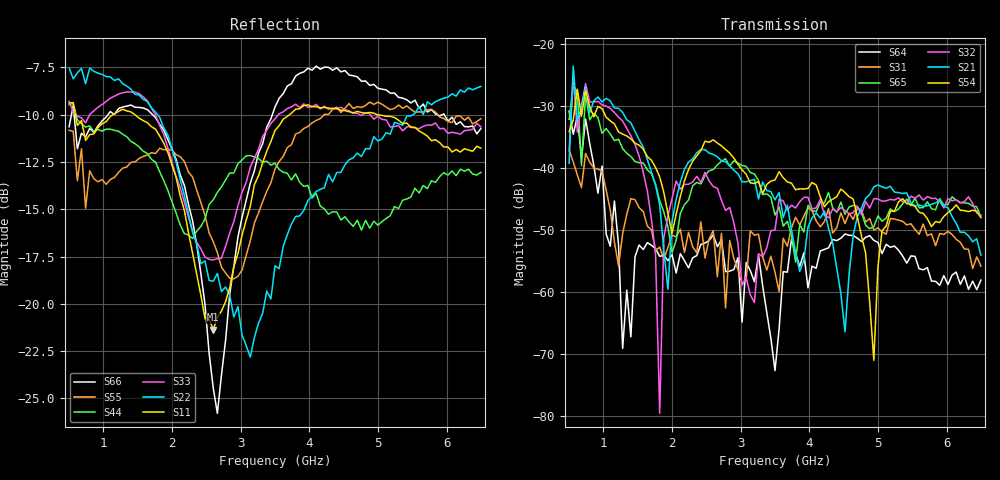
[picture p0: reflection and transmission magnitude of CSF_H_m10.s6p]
!Keysight Technologies,M9804A,MY58100912,A.14.10.03
!Date: Thursday, April 27, 2023 10:28:33
!Correction: S11(C  6-Port  )
!S12(C  6-Port  )
!S13(C  6-Port  )
!S14(C  6-Port  )
!S15(C  6-Port  )
!S16(C  6-Port  )
!S21(C  6-Port  )
!S22(C  6-Port  )
!S23(C  6-Port  )
!S24(C  6-Port  )
!S25(C  6-Port  )
!S26(C  6-Port  )
!S31(C  6-Port  )
!S32(C  6-Port  )
!S33(C  6-Port  )
!S34(C  6-Port  )
!S35(C  6-Port  )
!S36(C  6-Port  )
!S41(C  6-Port  )
!S42(C  6-Port  )
!S43(C  6-Port  )
!S44(C  6-Port  )
!S45(C  6-Port  )
!S46(C  6-Port  )
!S51(C  6-Port  )
!S52(C  6-Port  )
!S53(C  6-Port  )
!S54(C  6-Port  )
!S55(C  6-Port  )
!S56(C  6-Port  )
!S61(C  6-Port  )
!S62(C  6-Port  )
!S63(C  6-Port  )
!S64(C  6-Port  )
!S65(C  6-Port  )
!S66(C  6-Port  )
!S6P File: Measurement: :
# Hz S  RI  R 50
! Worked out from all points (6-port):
!   101 points, 500 MHz to 6.5 GHz, reference 50 ohm
!   strongest paths, dB at 500 MHz, 2 GHz, 3.5 GHz, 5 GHz, 6.5 GHz:
!     S54: -34.1, -50.5, -41.9, -55.9, -48.0
!     S21: -39.2, -48.6, -45.1, -42.7, -54.1
!     S32: -37.2, -44.9, -50.0, -45.0, -47.6
!     S65: -32.1, -53.6, -47.6, -47.7, -47.9
!     S31: -37.1, -50.8, -56.8, -49.6, -55.8
!     S64: -30.8, -54.0, -72.7, -52.0, -58.1
!   lowest |S11| = -21.4 dB at 2.6 GHz (marker M1), VSWR 1.19, Z = 42.4 + j2.32 ohm
!   |S11| at or under -10 dB: 591.7 MHz to 1.141 GHz (549.7 MHz wide, 63.4 % of centre); 1.458 GHz to 3.712 GHz (2.254 GHz wide, 87.2 % of centre); 4.991 GHz to end of sweep
